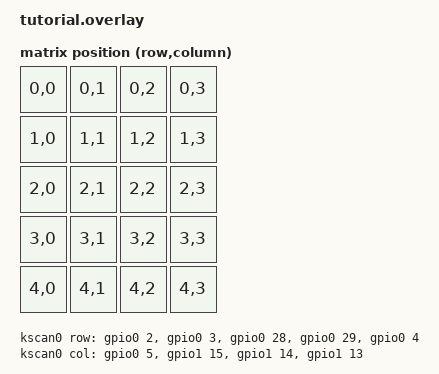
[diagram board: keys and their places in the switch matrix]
/*
 * Copyright (c) 2020 The ZMK Contributors
 * SPDX-License-Identifier: MIT
 */

#include <dt-bindings/zmk/matrix.h>

/ {
    chosen {
        zmk,kscan = &kscan0;
        zmk,matrix_transform = &default_transform;
    };

    kscan0: kscan {
        compatible = "zmk,kscan-gpio-matrix";
        diode-direction = "col2row";
        row-gpios
            = <&gpio0 2 (GPIO_ACTIVE_HIGH | GPIO_PULL_DOWN)> /* P0.02 */
            , <&gpio0 3 (GPIO_ACTIVE_HIGH | GPIO_PULL_DOWN)> /* P0.03 */
            , <&gpio0 28 (GPIO_ACTIVE_HIGH | GPIO_PULL_DOWN)> /* P0.28 */
            , <&gpio0 29 (GPIO_ACTIVE_HIGH | GPIO_PULL_DOWN)> /* P0.29 */
            , <&gpio0 4 (GPIO_ACTIVE_HIGH | GPIO_PULL_DOWN)> /* P0.04 */
            ;
        col-gpios
            = <&gpio0 5 (GPIO_ACTIVE_HIGH | GPIO_PULL_UP)> /* P0.05 */
            , <&gpio1 15 (GPIO_ACTIVE_HIGH | GPIO_PULL_UP)> /* P1.15 */
            , <&gpio1 14 (GPIO_ACTIVE_HIGH | GPIO_PULL_UP)> /* P1.14 */
            , <&gpio1 13 (GPIO_ACTIVE_HIGH | GPIO_PULL_UP)> /* P1.13 */
            ;
    };

    default_transform: matrix_transform {
        compatible = "zmk,matrix-transform";
        rows = <5>;
        columns = <4>;
        map = <
            RC(0,0) RC(0,1) RC(0,2) RC(0,3)
            RC(1,0) RC(1,1) RC(1,2) RC(1,3)
            RC(2,0) RC(2,1) RC(2,2) RC(2,3)
            RC(3,0) RC(3,1) RC(3,2) RC(3,3)
            RC(4,0) RC(4,1) RC(4,2) RC(4,3)
        >;
    };
};
